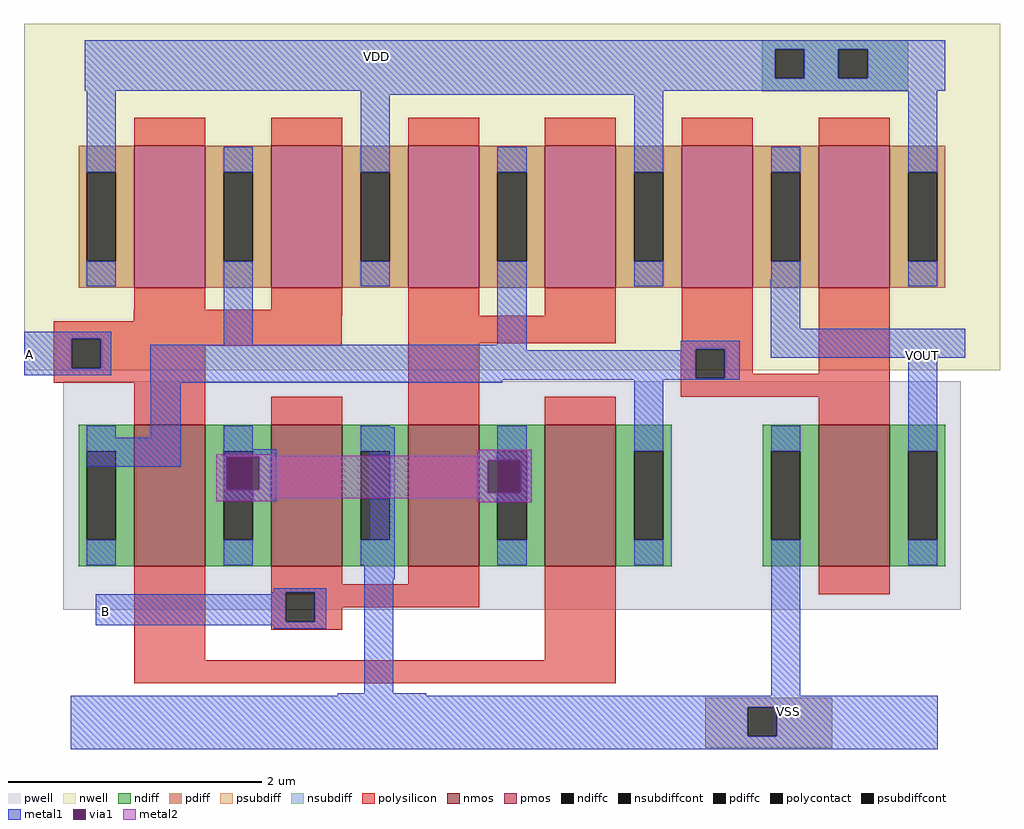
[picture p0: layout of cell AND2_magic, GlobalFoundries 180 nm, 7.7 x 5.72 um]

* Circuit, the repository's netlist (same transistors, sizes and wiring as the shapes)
* NGSPICE file created from AND2_magic.ext - technology: gf180mcuD

.subckt pmos_3p3_VZX6F7 a_164_n112# a_n164_n156# a_n252_n112# a_52_n156# w_n338_n242#
+ a_n52_n112#
X0 a_164_n112# a_52_n156# a_n52_n112# w_n338_n242# pfet_03v3 ad=0.4928p pd=3.12u as=0.2912p ps=1.64u w=1.12u l=0.56u
X1 a_n52_n112# a_n164_n156# a_n252_n112# w_n338_n242# pfet_03v3 ad=0.2912p pd=1.64u as=0.4928p ps=3.12u w=1.12u l=0.56u
.ends

.subckt nmos_3p3_F2UGVV a_164_n112# a_n164_n156# a_n252_n112# a_52_n156# a_n52_n112#
+ VSUBS
X0 a_164_n112# a_52_n156# a_n52_n112# VSUBS nfet_03v3 ad=0.4928p pd=3.12u as=0.2912p ps=1.64u w=1.12u l=0.56u
X1 a_n52_n112# a_n164_n156# a_n252_n112# VSUBS nfet_03v3 ad=0.2912p pd=1.64u as=0.4928p ps=3.12u w=1.12u l=0.56u
.ends

.subckt nmos_3p3_A2UGVV a_56_n112# a_n56_n156# a_n144_n112# VSUBS
X0 a_56_n112# a_n56_n156# a_n144_n112# VSUBS nfet_03v3 ad=0.4928p pd=3.12u as=0.4928p ps=3.12u w=1.12u l=0.56u
.ends

.subckt AND2_magic A B VDD VOUT VSS
Xpmos_3p3_VZX6F7_0 VDD A VDD A VDD a_1071_n42# pmos_3p3_VZX6F7
Xpmos_3p3_VZX6F7_1 VDD B VDD B VDD a_1071_n42# pmos_3p3_VZX6F7
Xpmos_3p3_VZX6F7_2 VDD a_1071_n42# VDD a_1071_n42# VDD VOUT pmos_3p3_VZX6F7
Xnmos_3p3_F2UGVV_0 m1_349_n207# B m1_349_n207# B VSS VSS nmos_3p3_F2UGVV
Xnmos_3p3_A2UGVV_0 m1_349_n207# A a_1071_n42# VSS nmos_3p3_A2UGVV
Xnmos_3p3_A2UGVV_1 a_1071_n42# A m1_349_n207# VSS nmos_3p3_A2UGVV
Xnmos_3p3_A2UGVV_2 VOUT a_1071_n42# VSS VSS nmos_3p3_A2UGVV
.ends

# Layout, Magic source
magic
tech gf180mcuD
magscale 1 10
<< nwell >>
rect 35 484 1575 546
rect 35 441 1489 484
rect 35 404 196 441
rect 608 434 1041 441
rect 35 403 51 404
rect 208 38 536 95
rect 641 42 969 86
<< pwell >>
rect 721 -378 1403 -18
<< psubdiff >>
rect 1110 -532 1310 -517
rect 1110 -578 1177 -532
rect 1223 -578 1310 -532
rect 1110 -596 1310 -578
<< nsubdiff >>
rect 1200 506 1430 520
rect 1200 460 1220 506
rect 1266 460 1320 506
rect 1366 460 1430 506
rect 1200 440 1430 460
<< psubdiffcont >>
rect 1177 -578 1223 -532
<< nsubdiffcont >>
rect 1220 460 1266 506
rect 1320 460 1366 506
<< polysilicon >>
rect 208 77 536 95
rect 82 49 536 77
rect 82 3 110 49
rect 156 38 536 49
rect 641 42 969 86
rect 1073 46 1185 86
rect 156 3 321 38
rect 82 -20 321 3
rect 209 -42 321 -20
rect 641 -42 753 42
rect 1071 33 1185 46
rect 1071 -13 1095 33
rect 1141 -6 1185 33
rect 1289 -6 1401 101
rect 1141 -13 1401 -6
rect 1071 -42 1401 -13
rect 209 -458 321 -312
rect 425 -339 641 -338
rect 425 -351 753 -339
rect 425 -397 448 -351
rect 494 -374 753 -351
rect 494 -397 537 -374
rect 425 -410 537 -397
rect 857 -458 969 -354
rect 209 -494 969 -458
<< polycontact >>
rect 110 3 156 49
rect 1095 -13 1141 33
rect 448 -397 494 -351
<< metal1 >>
rect 131 506 1489 520
rect 131 460 1220 506
rect 1266 460 1320 506
rect 1366 460 1489 506
rect 131 441 1489 460
rect 134 341 180 441
rect 566 434 1044 441
rect 566 341 612 434
rect 998 341 1044 434
rect 1430 341 1476 441
rect 35 49 173 60
rect 35 3 110 49
rect 156 3 173 49
rect 350 40 396 143
rect 782 40 828 143
rect 1213 65 1260 143
rect 35 -8 173 3
rect 234 31 828 40
rect 1071 33 1164 46
rect 1071 31 1095 33
rect 234 -13 1095 31
rect 1141 -13 1164 33
rect 1213 19 1520 65
rect 234 -15 1164 -13
rect 234 -20 790 -15
rect 235 -107 282 -20
rect 134 -153 282 -107
rect 349 -137 433 -125
rect 349 -189 354 -137
rect 406 -189 433 -137
rect 349 -207 433 -189
rect 580 -297 620 -90
rect 998 -99 1044 -15
rect 1430 -99 1476 19
rect 750 -142 836 -126
rect 750 -194 767 -142
rect 819 -194 836 -142
rect 750 -209 836 -194
rect 572 -330 620 -297
rect 429 -351 512 -344
rect 425 -354 448 -351
rect 148 -397 448 -354
rect 494 -397 512 -351
rect 148 -403 512 -397
rect 429 -408 512 -403
rect 572 -510 618 -330
rect 530 -514 670 -510
rect 1214 -514 1260 -297
rect 109 -532 1477 -514
rect 109 -578 1177 -532
rect 1223 -578 1477 -532
rect 109 -598 1477 -578
<< via1 >>
rect 354 -189 406 -137
rect 767 -194 819 -142
<< metal2 >>
rect 338 -135 426 -133
rect 750 -135 836 -126
rect 338 -137 836 -135
rect 338 -189 354 -137
rect 406 -142 836 -137
rect 406 -189 767 -142
rect 338 -194 767 -189
rect 819 -194 836 -142
rect 338 -202 836 -194
rect 338 -207 426 -202
rect 750 -209 836 -202
use nmos_3p3_A2UGVV  nmos_3p3_A2UGVV_0
transform 1 0 265 0 1 -198
box -168 -180 168 180
use nmos_3p3_A2UGVV  nmos_3p3_A2UGVV_1
transform 1 0 913 0 1 -198
box -168 -180 168 180
use nmos_3p3_A2UGVV  nmos_3p3_A2UGVV_2
transform 1 0 1345 0 1 -198
box -168 -180 168 180
use nmos_3p3_F2UGVV  nmos_3p3_F2UGVV_0
transform 1 0 589 0 1 -198
box -276 -180 276 180
use pmos_3p3_VZX6F7  pmos_3p3_VZX6F7_0
transform 1 0 373 0 1 242
box -338 -242 338 242
use pmos_3p3_VZX6F7  pmos_3p3_VZX6F7_1
transform 1 0 805 0 1 242
box -338 -242 338 242
use pmos_3p3_VZX6F7  pmos_3p3_VZX6F7_2
transform 1 0 1237 0 1 242
box -338 -242 338 242
<< labels >>
flabel metal1 s 44 25 44 25 0 FreeSans 750 0 0 0 A
port 2 nsew
flabel metal1 s 164 -381 164 -381 0 FreeSans 750 0 0 0 B
port 3 nsew
flabel metal1 s 591 495 591 495 0 FreeSans 1250 0 0 0 VDD
port 4 nsew
rlabel metal1 1430 -20 1476 65 0 VOUT
port 5 nsew
rlabel metal1 1223 -598 1260 -480 0 VSS
port 6 nsew
<< end >>

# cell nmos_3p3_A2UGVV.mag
magic
tech gf180mcuD
magscale 1 10
<< pwell >>
rect -168 -180 168 180
<< nmos >>
rect -56 -112 56 112
<< ndiff >>
rect -144 70 -56 112
rect -144 -70 -131 70
rect -85 -70 -56 70
rect -144 -112 -56 -70
rect 56 70 144 112
rect 56 -70 85 70
rect 131 -70 144 70
rect 56 -112 144 -70
<< ndiffc >>
rect -131 -70 -85 70
rect 85 -70 131 70
<< polysilicon >>
rect -56 112 56 156
rect -56 -156 56 -112
<< metal1 >>
rect -131 70 -85 110
rect -131 -110 -85 -70
rect 85 70 131 110
rect 85 -110 131 -70
<< end >>

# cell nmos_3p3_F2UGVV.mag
magic
tech gf180mcuD
magscale 1 10
<< pwell >>
rect -276 -180 276 180
<< nmos >>
rect -164 -112 -52 112
rect 52 -112 164 112
<< ndiff >>
rect -252 70 -164 112
rect -252 -70 -239 70
rect -193 -70 -164 70
rect -252 -112 -164 -70
rect -52 70 52 112
rect -52 -70 -23 70
rect 23 -70 52 70
rect -52 -112 52 -70
rect 164 70 252 112
rect 164 -70 193 70
rect 239 -70 252 70
rect 164 -112 252 -70
<< ndiffc >>
rect -239 -70 -193 70
rect -23 -70 23 70
rect 193 -70 239 70
<< polysilicon >>
rect -164 112 -52 156
rect 52 112 164 156
rect -164 -156 -52 -112
rect 52 -156 164 -112
<< metal1 >>
rect -239 70 -193 110
rect -239 -110 -193 -70
rect -23 70 23 110
rect -23 -110 23 -70
rect 193 70 239 110
rect 193 -110 239 -70
<< end >>

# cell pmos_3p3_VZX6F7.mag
magic
tech gf180mcuD
magscale 1 10
<< nwell >>
rect -338 -242 338 242
<< pmos >>
rect -164 -112 -52 112
rect 52 -112 164 112
<< pdiff >>
rect -252 70 -164 112
rect -252 -70 -239 70
rect -193 -70 -164 70
rect -252 -112 -164 -70
rect -52 70 52 112
rect -52 -70 -23 70
rect 23 -70 52 70
rect -52 -112 52 -70
rect 164 70 252 112
rect 164 -70 193 70
rect 239 -70 252 70
rect 164 -112 252 -70
<< pdiffc >>
rect -239 -70 -193 70
rect -23 -70 23 70
rect 193 -70 239 70
<< polysilicon >>
rect -164 112 -52 156
rect 52 112 164 156
rect -164 -156 -52 -112
rect 52 -156 164 -112
<< metal1 >>
rect -239 70 -193 110
rect -239 -110 -193 -70
rect -23 70 23 110
rect -23 -110 23 -70
rect 193 70 239 110
rect 193 -110 239 -70
<< end >>
